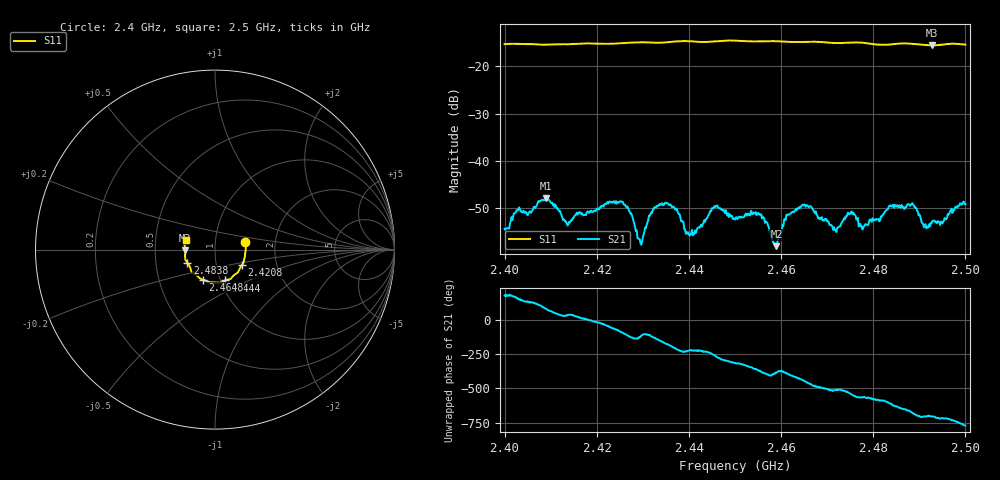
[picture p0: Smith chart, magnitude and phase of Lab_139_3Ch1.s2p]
# Hz S RI R 50
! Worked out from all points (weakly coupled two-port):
!   601 points, 2.4 GHz to 2.5 GHz, reference 50 ohm
!   highest |S21| = -47.93 dB at 2.409 GHz (marker M1); lowest = -58.1 dB at 2.459 GHz (marker M2)
!   lowest |S11| = -15.6 dB at 2.4928 GHz (marker M3), VSWR 1.40, Z = 35.7 - j0.306 ohm
!   |S11| at or under -10 dB: start of sweep to end of sweep
!   S12 and S22 are empty: the file has one direction only
!   S11 on the Smith chart (normalised r, x): 2.4 GHz: 1.39, +0.12; 2.4208 GHz: 1.33, -0.24; 2.444 GHz: 1.05, -0.37; 2.4648 GHz: 0.83, -0.29; 2.4838 GHz: 0.73, -0.11; 2.5 GHz: 0.72, +0.08
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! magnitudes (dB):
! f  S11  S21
! 2.4 GHz  -15.3  -54.4
! 2.409 GHz  -15.4  -47.9
! 2.4137 GHz  -15.3  -53.7
! 2.4167 GHz  -15.2  -51.3
! 2.4208 GHz  -15.2  -49.9
! 2.4257 GHz  -15.1  -48.7
! 2.4293 GHz  -14.9  -56.6
! 2.4333 GHz  -15.0  -49.6
! 2.437 GHz  -14.8  -50.3
! 2.4398 GHz  -14.7  -55.1
! 2.444 GHz  -14.8  -52.1
! 2.45 GHz  -14.6  -52.4
! 2.4555 GHz  -14.7  -51.3
! 2.459 GHz  -14.7  -58.1
! 2.4612 GHz  -14.8  -51.4
! 2.4648 GHz  -14.9  -49.4
! 2.4667 GHz  -14.8  -49.9
! 2.4717 GHz  -15.1  -54.7
! 2.4833 GHz  -15.4  -49.8
! 2.4838 GHz  -15.4  -49.4
! 2.4928 GHz  -15.6  -52.7
! 2.5 GHz  -15.4  -49.1
